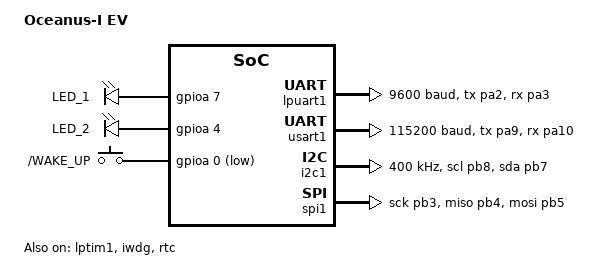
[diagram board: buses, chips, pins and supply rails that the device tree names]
/*
 * Copyright (c) 2025 Würth Elektronik eiSos GmbH & Co. KG
 *
 * SPDX-License-Identifier: Apache-2.0
 */

/dts-v1/;
#include <we/oceanus1.dtsi>
#include <zephyr/dt-bindings/input/input-event-codes.h>

/ {
	model = "Oceanus-I EV";
	compatible = "we,oceanus1ev";

	chosen {
		zephyr,console = &lpuart1;
		zephyr,sram = &sram0;
		zephyr,flash = &flash0;
		zephyr,code-partition = &slot0_partition;
	};

	leds {
		compatible = "gpio-leds";

		yellow_led: led_1 {
			gpios = <&gpioa 7 GPIO_ACTIVE_HIGH>;
			label = "LED_1";
		};

		blue_led: led_2 {
			gpios = <&gpioa 4 GPIO_ACTIVE_HIGH>;
			label = "LED_2";
		};
	};

	gpio_keys {
		compatible = "gpio-keys";

		wake_up_button: button_0 {
			label = "/WAKE_UP";
			gpios = <&gpioa 0 (GPIO_ACTIVE_LOW | GPIO_PULL_UP)>;
			zephyr,code = <INPUT_KEY_0>;
		};
	};

	aliases {
		led0 = &yellow_led;
		led1 = &blue_led;
		sw0 = &wake_up_button;
		lora0 = &lora;
		watchdog0 = &iwdg;
	};
};

stm32_lp_tick_source: &lptim1 {
	clocks = <&rcc STM32_CLOCK(APB1, 31)>,
		 <&rcc STM32_SRC_LSE LPTIM1_SEL(3)>;
	status = "okay";
};

&clk_lsi {
	status = "okay";
};

&pll {
	div-m = <1>;
	mul-n = <6>;
	div-r = <2>;
	div-q = <2>;
	clocks = <&clk_hsi>;
	status = "okay";
};

&iwdg {
	status = "okay";
};

&rcc {
	clocks = <&pll>;
	clock-frequency = <DT_FREQ_M(48)>;
	cpu1-prescaler = <1>;
	ahb3-prescaler = <1>;
	apb1-prescaler = <1>;
	apb2-prescaler = <1>;
};

&lpuart1 {
	pinctrl-0 = <&lpuart1_tx_pa2 &lpuart1_rx_pa3>;
	pinctrl-names = "default";
	current-speed = <9600>;
	status = "okay";
};

&usart1 {
	pinctrl-0 = <&usart1_tx_pa9 &usart1_rx_pa10>;
	pinctrl-names = "default";
	current-speed = <115200>;
	status = "okay";
};

&i2c1 {
	pinctrl-0 = <&i2c1_scl_pb8 &i2c1_sda_pb7>;
	pinctrl-names = "default";
	status = "okay";
	clock-frequency = <I2C_BITRATE_FAST>;
};

&spi1 {
	pinctrl-0 = <&spi1_sck_pb3 &spi1_miso_pb4 &spi1_mosi_pb5>;
	pinctrl-names = "default";
	cs-gpios = <&gpioa 15 GPIO_ACTIVE_LOW>;
	status = "okay";
};

&rtc {
	clocks = <&rcc STM32_CLOCK(APB1, 10)>,
		 <&rcc STM32_SRC_LSE RTC_SEL(2)>;
	status = "okay";
};

&flash0 {
	partitions {
		compatible = "fixed-partitions";
		#address-cells = <1>;
		#size-cells = <1>;

		boot_partition: partition@0 {
			label = "mcuboot";
			reg = <0x00000000 DT_SIZE_K(32)>;
			read-only;
		};

		slot0_partition: partition@8000 {
			label = "image-0";
			reg = <0x00008000 DT_SIZE_K(108)>;
		};

		slot1_partition: partition@23000 {
			label = "image-1";
			reg = <0x00023000 DT_SIZE_K(108)>;
		};

		storage_partition: partition@3e000 {
			label = "storage";
			reg = <0x0003e000 DT_SIZE_K(8)>;
		};
	};
};
